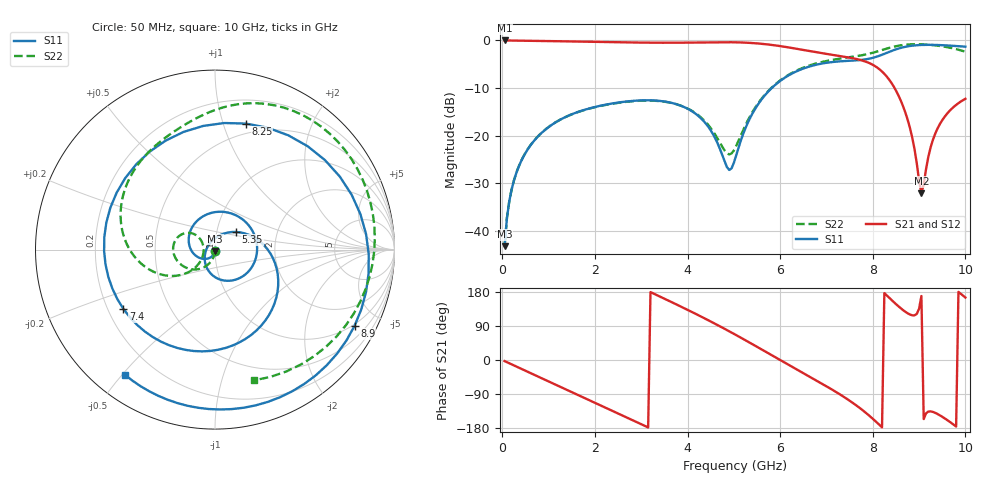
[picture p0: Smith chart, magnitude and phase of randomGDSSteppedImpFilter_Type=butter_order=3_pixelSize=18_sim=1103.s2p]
! freq	dB(S11)	phase(S11)	dB(S12)	phase(S12)
!  dB(S21)	phase(S21)	dB(S22)	phase(S22)
!S-par simulation data
#  GHz  S  DB  R 50
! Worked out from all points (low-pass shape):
!   200 points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, 50 MHz to 10 GHz, reference 50 ohm
!   highest |S21| = -0.01 dB at 50 MHz (marker M1); lowest = -32.1 dB at 9.05 GHz (marker M2)
!   |S21| within 3 dB of the highest: start of sweep to 7.116 GHz
!   lowest |S11| = -43.2 dB at 50 MHz (marker M3), VSWR 1.01, Z = 50 - j0.69 ohm
!   |S11| at or under -10 dB: start of sweep to 5.819 GHz
!   |S22| runs from -43.2 to -0.8 dB; largest |S21 - S12| = 0
!   S11 on the Smith chart (normalised r, x): 50 MHz: 1.00, -0.01; 5.35 GHz: 1.24, +0.25; 7.4 GHz: 0.26, -0.28; 8.25 GHz: 0.40, +1.19; 8.9 GHz: 0.94, -3.70; 10 GHz: 0.10, -0.51
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0.05  -43.22 -91.8  -0.01 -2.9  -0.01 -2.9  -43.20 -89.2
0.2  -31.39 -105.6  -0.02 -11.4  -0.02 -11.4  -31.35 -96.6
0.5  -23.65 -130.2  -0.06 -28.4  -0.06 -28.4  -23.61 -107.5
1.15  -17.21 177.0  -0.16 -64.9  -0.16 -64.9  -17.20 -128.8
1.75  -14.65 126.7  -0.27 -98.6  -0.27 -98.6  -14.68 -145.7
2.65  -12.86 48.8  -0.41 -149.4  -0.41 -149.4  -12.93 -168.6
3.4  -12.71 -14.7  -0.48 167.7  -0.48 167.7  -12.75 170.3
4.35  -16.96 -96.6  -0.41 111.1  -0.41 111.1  -16.72 143.5
4.9  -27.21 151.9  -0.38 75.8  -0.38 75.8  -23.95 179.8
5.05  -24.16 91.7  -0.40 65.8  -0.40 65.8  -22.18 -152.2
5.35  -16.31 40.0  -0.52 45.3  -0.52 45.3  -15.93 -137.9
6  -8.51 -21.5  -1.19 -0.1  -1.19 -0.1  -8.40 -162.7
6.7  -5.29 -79.8  -2.34 -48.4  -2.34 -48.4  -5.05 160.2
7.4  -4.32 -147.2  -3.44 -99.2  -3.44 -99.2  -3.67 125.1
7.85  -3.97 150.0  -4.47 -139.3  -4.47 -139.3  -2.95 104.5
8.25  -2.82 76.2  -7.02 176.5  -7.02 176.5  -1.87 84.0
8.35  -2.42 57.3  -8.19 164.8  -8.19 164.8  -1.58 77.8
8.6  -1.58 13.7  -12.53 137.0  -12.53 137.0  -1.03 60.4
8.9  -1.05 -28.6  -22.76 117.7  -22.76 117.7  -0.80 37.4
9.05  -0.95 -46.0  -32.08 168.8  -32.08 168.8  -0.82 25.3
9.4  -0.96 -79.8  -18.47 -142.6  -18.47 -142.6  -1.10 -5.0
10  -1.32 -125.6  -12.27 164.9  -12.27 164.9  -2.38 -73.4
